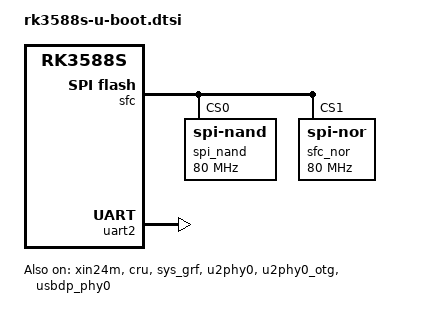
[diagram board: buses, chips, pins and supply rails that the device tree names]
// SPDX-License-Identifier: (GPL-2.0+ OR MIT)
/*
 * Copyright (c) 2022 Edgeble AI Technologies Pvt. Ltd.
 */

#include "rockchip-u-boot.dtsi"
#include <dt-bindings/phy/phy.h>

/ {
	aliases {
		mmc0 = &sdhci;
		mmc1 = &sdmmc;
		spi0 = &spi0;
		spi1 = &spi1;
		spi2 = &spi2;
		spi3 = &spi3;
		spi4 = &spi4;
		spi5 = &sfc;
	};

	dmc {
		compatible = "rockchip,rk3588-dmc";
		bootph-all;
		status = "okay";
	};

	pmu1_grf: syscon@fd58a000 {
		bootph-all;
		compatible = "rockchip,rk3588-pmu1-grf", "syscon";
		reg = <0x0 0xfd58a000 0x0 0x2000>;
	};

	pipe_phy0_grf: syscon@fd5bc000 {
		compatible = "rockchip,pipe-phy-grf", "syscon";
		reg = <0x0 0xfd5bc000 0x0 0x100>;
	};



	pcie2x1l2: pcie@fe190000 {
		compatible = "rockchip,rk3588-pcie", "snps,dw-pcie";
		#address-cells = <3>;
		#size-cells = <2>;
		bus-range = <0x40 0x4f>;
		clocks = <&cru ACLK_PCIE_1L2_MSTR>, <&cru ACLK_PCIE_1L2_SLV>,
			 <&cru ACLK_PCIE_1L2_DBI>, <&cru PCLK_PCIE_1L2>,
			 <&cru CLK_PCIE_AUX4>, <&cru CLK_PCIE1L2_PIPE>;
		clock-names = "aclk_mst", "aclk_slv",
			      "aclk_dbi", "pclk",
			      "aux", "pipe";
		device_type = "pci";
		interrupts = <GIC_SPI 253 IRQ_TYPE_LEVEL_HIGH 0>,
			     <GIC_SPI 252 IRQ_TYPE_LEVEL_HIGH 0>,
			     <GIC_SPI 251 IRQ_TYPE_LEVEL_HIGH 0>,
			     <GIC_SPI 250 IRQ_TYPE_LEVEL_HIGH 0>,
			     <GIC_SPI 249 IRQ_TYPE_LEVEL_HIGH 0>;
		interrupt-names = "sys", "pmc", "msg", "legacy", "err";
		#interrupt-cells = <1>;
		interrupt-map-mask = <0 0 0 7>;
		interrupt-map = <0 0 0 1 &pcie2x1l2_intc 0>,
				<0 0 0 2 &pcie2x1l2_intc 1>,
				<0 0 0 3 &pcie2x1l2_intc 2>,
				<0 0 0 4 &pcie2x1l2_intc 3>;
		linux,pci-domain = <4>;
		num-ib-windows = <8>;
		num-ob-windows = <8>;
		num-viewport = <4>;
		max-link-speed = <2>;
		msi-map = <0x4000 &gic 0x4000 0x1000>;
		num-lanes = <1>;
		phys = <&combphy0_ps PHY_TYPE_PCIE>;
		phy-names = "pcie-phy";
		power-domains = <&power RK3588_PD_PCIE>;
		ranges = <0x01000000 0x0 0xf4100000 0x0 0xf4100000 0x0 0x00100000>,
			 <0x02000000 0x0 0xf4200000 0x0 0xf4200000 0x0 0x00e00000>,
			 <0x03000000 0x0 0x40000000 0xa 0x00000000 0x0 0x40000000>;
		reg = <0xa 0x41000000 0x0 0x00400000>,
		      <0x0 0xfe190000 0x0 0x00010000>,
		      <0x0 0xf4000000 0x0 0x00100000>;
		reg-names = "dbi", "apb", "config";
		resets = <&cru SRST_PCIE4_POWER_UP>, <&cru SRST_P_PCIE4>;
		reset-names = "pcie", "periph";
		rockchip,pipe-grf = <&php_grf>;
		status = "disabled";

		pcie2x1l2_intc: legacy-interrupt-controller {
			interrupt-controller;
			#address-cells = <0>;
			#interrupt-cells = <1>;
			interrupt-parent = <&gic>;
			interrupts = <GIC_SPI 250 IRQ_TYPE_EDGE_RISING 0>;
		};
	};

	sfc: spi@fe2b0000 {
		compatible = "rockchip,sfc";
		reg = <0x0 0xfe2b0000 0x0 0x4000>;
		interrupts = <GIC_SPI 206 IRQ_TYPE_LEVEL_HIGH 0>;
		clocks = <&cru SCLK_SFC>, <&cru HCLK_SFC>;
		clock-names = "clk_sfc", "hclk_sfc";
		status = "disabled";
	};

	crypto: crypto@fe370000 {
		compatible = "rockchip,rk3588-crypto";
		reg = <0x0 0xfe370000 0x0 0x2000>;
		interrupts = <GIC_SPI 209 IRQ_TYPE_LEVEL_HIGH 0>;
		clocks = <&scmi_clk SCMI_ACLK_SECURE_NS>, <&scmi_clk SCMI_HCLK_SECURE_NS>,
			 <&scmi_clk SCMI_CRYPTO_CORE>, <&scmi_clk SCMI_CRYPTO_PKA>;
		clock-names = "aclk", "hclk", "sclk", "pka";
		resets = <&scmi_reset SRST_CRYPTO_CORE>;
		reset-names = "crypto-rst";
		status = "disabled";
	};

	rng: rng@fe378000 {
		compatible = "rockchip,trngv1";
		reg = <0x0 0xfe378000 0x0 0x200>;
		status = "disabled";
	};

	combphy0_ps: phy@fee00000 {
		compatible = "rockchip,rk3588-naneng-combphy";
		reg = <0x0 0xfee00000 0x0 0x100>;
		#phy-cells = <1>;
		clocks = <&cru CLK_REF_PIPE_PHY0>, <&cru PCLK_PCIE_COMBO_PIPE_PHY0>,
			 <&cru PCLK_PHP_ROOT>;
		clock-names = "refclk", "apbclk", "phpclk";
		assigned-clocks = <&cru CLK_REF_PIPE_PHY0>;
		assigned-clock-rates = <100000000>;
		resets = <&cru SRST_P_PCIE2_PHY0>, <&cru SRST_REF_PIPE_PHY0>;
		reset-names = "combphy-apb", "combphy";
		rockchip,pipe-grf = <&php_grf>;
		rockchip,pipe-phy-grf = <&pipe_phy0_grf>;
		status = "disabled";
	};
};

&emmc_bus8 {
	bootph-all;
};

&emmc_clk {
	bootph-all;
};

&emmc_cmd {
	bootph-all;
};

&emmc_data_strobe {
	bootph-all;
};

&emmc_rstnout {
	bootph-all;
};

&pinctrl {
	bootph-all;
};

&pcfg_pull_none {
	bootph-all;
};

&pcfg_pull_up_drv_level_2 {
	bootph-all;
};

&pcfg_pull_up {
	bootph-all;
};

&xin24m {
	bootph-all;
	status = "okay";
};

&cru {
	bootph-pre-ram;
	status = "okay";
};

&sys_grf {
	bootph-pre-ram;
	status = "okay";
};

&scmi {
	bootph-pre-ram;
};

&scmi_clk {
	bootph-pre-ram;
};

&sdmmc {
	bootph-pre-ram;
	u-boot,spl-fifo-mode;
};

&sdhci {
	bootph-pre-ram;
	u-boot,spl-fifo-mode;
};

&sdmmc_bus4 {
	bootph-all;
};

&sdmmc_clk {
	bootph-all;
};

&sdmmc_cmd {
	bootph-all;
};

&sdmmc_det {
	bootph-all;
};

&sfc {
	bootph-all;
	status = "okay";

	#address-cells = <1>;
	#size-cells = <0>;
	spi_nand: flash@0 {
		bootph-all;
		compatible = "spi-nand";
		reg = <0>;
		spi-tx-bus-width = <1>;
		spi-rx-bus-width = <4>;
		spi-max-frequency = <80000000>;
	};

	spi_nor: flash@1 {
		bootph-all;
		compatible = "jedec,spi-nor";
		label = "sfc_nor";
		reg = <1>;
		spi-tx-bus-width = <1>;
		spi-rx-bus-width = <4>;
		spi-max-frequency = <80000000>;
	};
};

&usb2phy0_grf {
	bootph-all;
};

&u2phy0 {
	bootph-all;
	status = "okay";
};

&u2phy0_otg {
	bootph-all;
	status = "okay";
};

&uart2 {
	clock-frequency = <24000000>;
	bootph-pre-ram;
	status = "okay";
};

&uart2m0_xfer {
	bootph-all;
};

&usb_grf{
	bootph-all;
};

&usbdpphy0_grf{
	bootph-all;
};

&usbdp_phy0{
	bootph-all;
	status = "okay";
};

&ioc {
	bootph-pre-ram;
};

#ifdef CONFIG_ROCKCHIP_SPI_IMAGE
&binman {
	simple-bin-spi {
		mkimage {
			args = "-n", CONFIG_SYS_SOC, "-T", "rksd";
			offset = <0x8000>;
		};
	};
};
#endif
